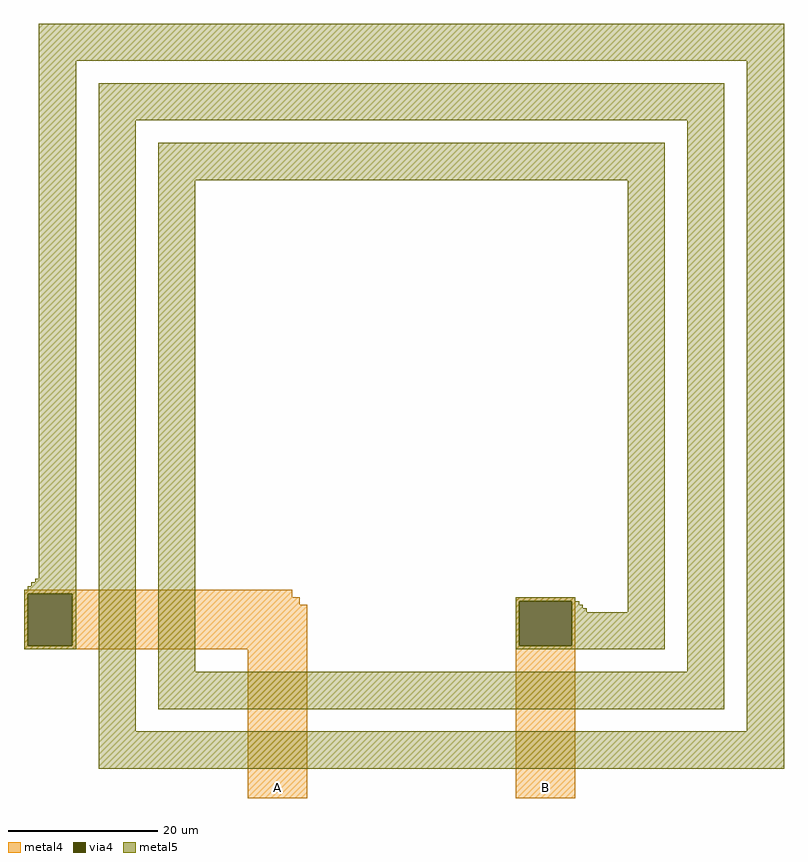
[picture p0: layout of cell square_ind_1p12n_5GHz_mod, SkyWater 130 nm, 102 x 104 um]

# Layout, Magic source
magic
tech sky130B
<< metal4 >>
rect -200 2350 3400 2400
rect -200 1650 -150 2350
rect 450 2300 3400 2350
rect 450 2200 3500 2300
rect 6400 2250 7200 2300
rect 450 1650 3600 2200
rect -200 1600 3600 1650
rect 2800 -400 3600 1600
rect 6400 1650 6450 2250
rect 7150 1650 7200 2250
rect 6400 -400 7200 1650
<< via4 >>
rect -150 1650 450 2350
rect 6450 1650 7150 2250
<< metal5 >>
rect 0 9500 10000 10000
rect 0 2550 500 9500
rect -50 2500 500 2550
rect -100 2450 500 2500
rect -150 2400 500 2450
rect -200 2350 500 2400
rect -200 1650 -150 2350
rect 450 1650 500 2350
rect -200 1600 500 1650
rect 800 8700 9200 9200
rect 800 500 1300 8700
rect 1600 7900 8400 8400
rect 1600 1300 2100 7900
rect 6400 2250 7200 2300
rect 6400 1650 6450 2250
rect 7150 2200 7250 2250
rect 7150 2150 7300 2200
rect 7150 2100 7350 2150
rect 7900 2100 8400 7900
rect 7150 1650 8400 2100
rect 6400 1600 8400 1650
rect 8700 1300 9200 8700
rect 1600 800 9200 1300
rect 9500 500 10000 9500
rect 800 0 10000 500
<< labels >>
rlabel metal4 6400 -400 7200 -100 1 B
rlabel metal4 2800 -400 3600 -100 1 A
<< end >>
